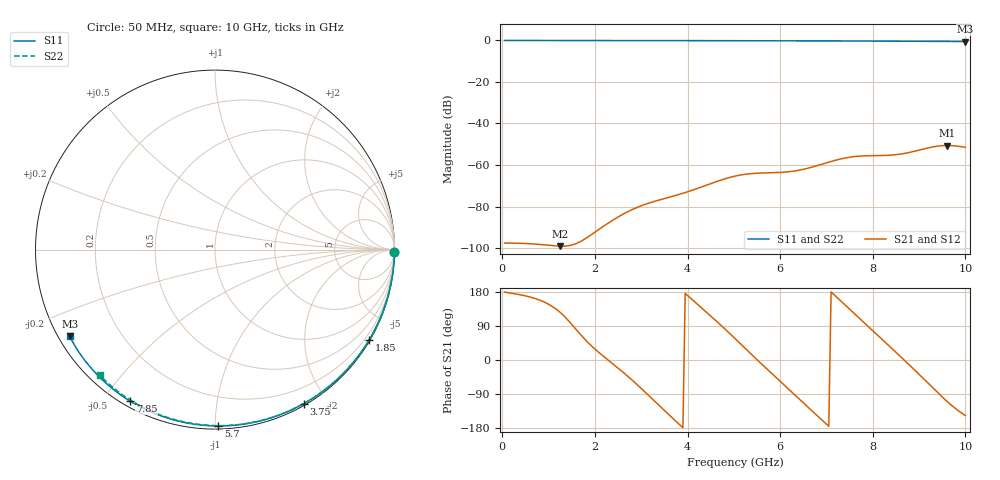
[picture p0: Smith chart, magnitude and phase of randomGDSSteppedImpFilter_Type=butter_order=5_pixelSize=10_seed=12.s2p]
! freq	dB(S11)	phase(S11)	dB(S12)	phase(S12)
!  dB(S21)	phase(S21)	dB(S22)	phase(S22)
!S-par simulation data
#  GHz  S  DB  R 50
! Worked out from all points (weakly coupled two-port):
!   200 points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, 50 MHz to 10 GHz, reference 50 ohm
!   highest |S21| = -50.60 dB at 9.6 GHz (marker M1); lowest = -99.1 dB at 1.25 GHz (marker M2)
!   lowest |S11| = -0.5 dB at 10 GHz (marker M3), VSWR 34.09, Z = 1.58 - j13.8 ohm
!   |S11| at or under -10 dB: nowhere
!   |S22| runs from -0.5 to 0.0 dB; largest |S21 - S12| = 0
!   S11 on the Smith chart (normalised r, x): 50 MHz: open; 1.85 GHz: 0.03, -3.69; 3.75 GHz: 0.02, -1.73; 5.7 GHz: 0.02, -1.02; 7.85 GHz: 0.02, -0.59; 10 GHz: 0.03, -0.28
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0.05  -0.00 -0.8  -97.59 179.3  -97.59 179.3  -0.00 -0.7
0.65  -0.01 -10.8  -97.99 164.5  -97.99 164.5  -0.01 -9.6
1.25  -0.03 -20.6  -99.09 125.7  -99.09 125.7  -0.02 -18.4
1.75  -0.04 -28.7  -96.07 58.9  -96.07 58.9  -0.03 -25.6
1.85  -0.04 -30.3  -94.66 46.1  -94.66 46.1  -0.03 -27.1
2.95  -0.06 -47.8  -80.08 -69.4  -80.08 -69.4  -0.06 -42.7
3.4  -0.07 -54.7  -76.79 -121.6  -76.79 -121.6  -0.07 -49.0
3.75  -0.08 -60.1  -74.62 -161.9  -74.62 -161.9  -0.07 -53.8
4.75  -0.11 -75.1  -67.05 88.4  -67.05 88.4  -0.10 -67.3
5.05  -0.12 -79.5  -65.23 53.7  -65.23 53.7  -0.11 -71.3
5.35  -0.14 -83.9  -64.19 18.2  -64.19 18.2  -0.12 -75.2
5.7  -0.15 -89.0  -63.79 -22.2  -63.79 -22.2  -0.13 -79.7
6.25  -0.18 -96.8  -63.08 -84.5  -63.08 -84.5  -0.16 -86.7
6.7  -0.21 -103.2  -60.96 -135.7  -60.96 -135.7  -0.18 -92.4
7.35  -0.25 -112.2  -56.86 151.3  -56.86 151.3  -0.22 -100.5
7.6  -0.26 -115.7  -55.94 122.6  -55.94 122.6  -0.23 -103.5
7.85  -0.28 -119.1  -55.55 94.1  -55.55 94.1  -0.25 -106.6
8.35  -0.33 -126.0  -55.30 37.6  -55.30 37.6  -0.29 -112.6
8.7  -0.36 -130.9  -54.37 -2.7  -54.37 -2.7  -0.32 -116.8
9.35  -0.43 -139.9  -51.07 -79.7  -51.07 -79.7  -0.38 -124.6
9.6  -0.45 -143.5  -50.60 -108.8  -50.60 -108.8  -0.40 -127.6
10  -0.51 -149.2  -51.47 -146.7  -51.47 -146.7  -0.45 -132.4
